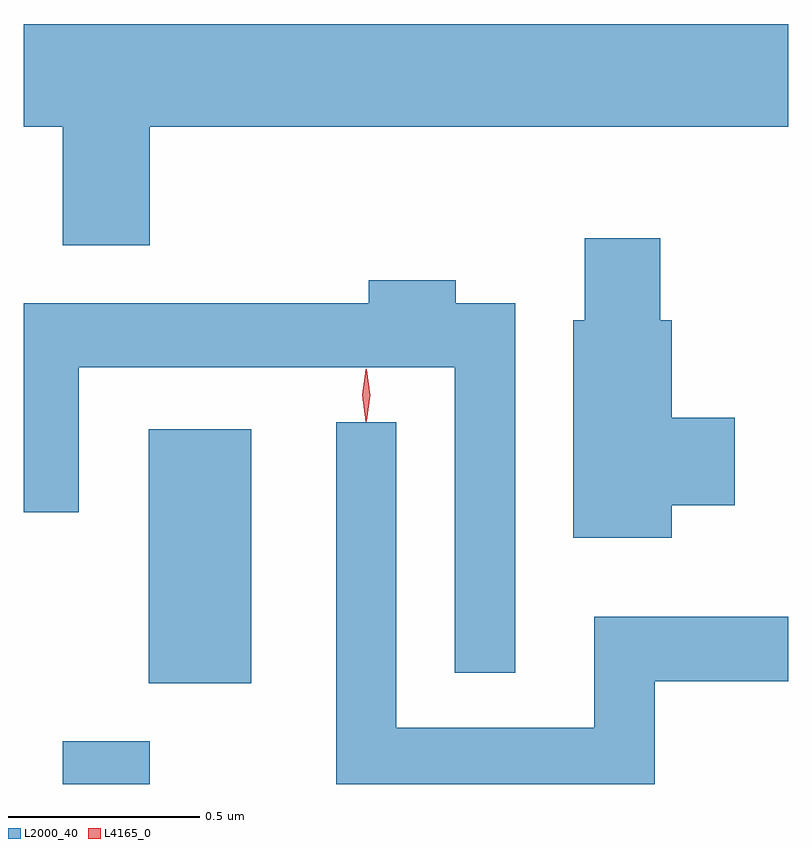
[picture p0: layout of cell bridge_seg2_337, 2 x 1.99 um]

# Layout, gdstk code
import gdstk
lib = gdstk.Library(unit=1e-6, precision=1e-09)
def R(c, l, rs):  # rectangles x0, y0, x1, y1
    for r in rs: c.add(gdstk.rectangle(r[:2], r[2:], *l))
def P(c, l, *ps):  # polygons
    for p in ps: c.add(gdstk.Polygon(p, *l))
L2000_40 = (2000, 40)
L4165_0 = (4165, 0)

bridge_seg2_337 = lib.new_cell('bridge_seg2_337')
R(bridge_seg2_337, L2000_40, [(428.161,1084.337,428.389,1084.449), (428.386,1084.601,428.654,1085.264)])
P(bridge_seg2_337, L2000_40, [(428.389,1086.056),(430.059,1086.056),(430.059,1086.324),(428.059,1086.324),(428.059,1086.056),(428.161,1086.056),(428.161,1085.746),(428.389,1085.746)],
  [(429.754,1085.066),(429.919,1085.066),(429.919,1085.294),(429.754,1085.294),(429.754,1085.549),(429.724,1085.549),(429.724,1085.764),(429.526,1085.764),(429.526,1085.549),(429.496,1085.549),(429.496,1084.981),(429.754,1084.981)],
  [(429.344,1085.594),(429.189,1085.594),(429.189,1085.654),(428.961,1085.654),(428.961,1085.594),(428.059,1085.594),(428.059,1085.048),(428.204,1085.048),(428.204,1085.426),(429.186,1085.426),(429.186,1084.628),(429.344,1084.628)],
  [(429.709,1084.606),(430.059,1084.606),(430.059,1084.774),(429.551,1084.774),(429.551,1084.484),(429.034,1084.484),(429.034,1085.283),(428.876,1085.283),(428.876,1084.337),(429.709,1084.337)])
P(bridge_seg2_337, L4165_0, [(428.954,1085.284),(428.945,1085.353),(428.954,1085.422),(428.955,1085.423),(428.955,1085.422),(428.965,1085.353),(428.955,1085.284),(428.955,1085.284)],
  [(428.954,1085.287),(428.945,1085.354),(428.954,1085.42),(428.955,1085.421),(428.956,1085.42),(428.965,1085.354),(428.956,1085.287),(428.955,1085.287)])

lib.write_gds('bridge_seg2_337.gds')
